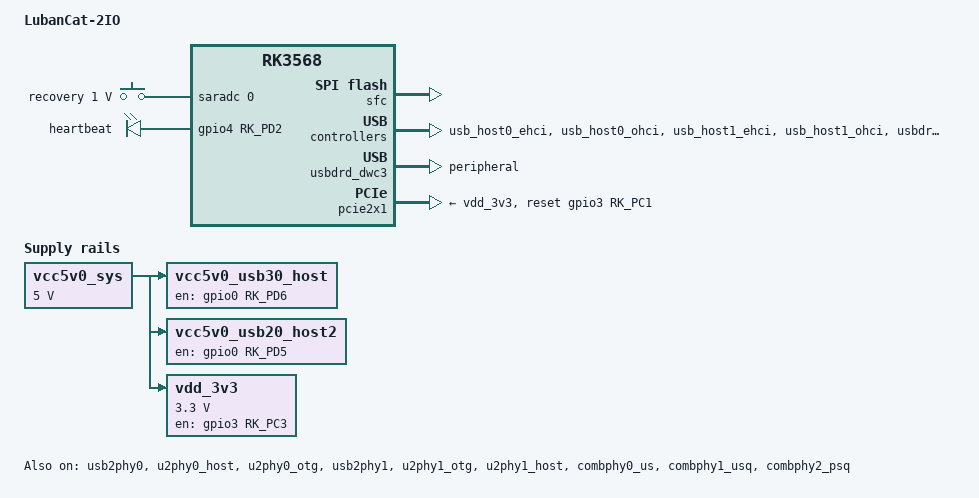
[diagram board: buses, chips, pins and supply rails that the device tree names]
// SPDX-License-Identifier: (GPL-2.0+ OR MIT)
/*
 * Copyright (c) 2020 Rockchip Electronics Co., Ltd.
 * Copyright (c) 2023 EmbedFire Electronic Technology Co., Ltd.
 *
 * LubanCat-2IO development board devicestree
 */

#include "rk3568-lubancat-2core-port.dtsi"


/ {
	model = "LubanCat-2IO";
	compatible = "rockchip,rk3568-lubancat-2io", "rockchip,rk3568";

	vcc5v0_sys: vcc5v0-sys {
		compatible = "regulator-fixed";
		regulator-name = "vcc5v0_sys";
		regulator-always-on;
		regulator-boot-on;
		regulator-min-microvolt = <5000000>;
		regulator-max-microvolt = <5000000>;
	};

	/* DASHCAM NEED */
	vcc5v0_usb30_host: vcc5v0-usb30-host-regulator {
		compatible = "regulator-fixed";
		enable-active-high;
		gpio = <&gpio0 RK_PD6 GPIO_ACTIVE_HIGH>;
		pinctrl-names = "default";
		pinctrl-0 = <&usb30_host1_pwr_en>;
		regulator-name = "vcc5v0_usb30_host";
		regulator-always-on;
		vin-supply = <&vcc5v0_sys>;
	};

	/* DASHCAM NEED */
	vcc5v0_usb20_host2: vcc5v0-usb20-host-regulator {
		compatible = "regulator-fixed";
		enable-active-high;
		gpio = <&gpio0 RK_PD5 GPIO_ACTIVE_HIGH>;
		pinctrl-names = "default";
		pinctrl-0 = <&usb20_host2_pwr_en>;
		regulator-name = "vcc5v0_usb20_host2";
		regulator-always-on;
		vin-supply = <&vcc5v0_sys>;
	};

	/* DASHCAM NEED */
	vdd_3v3: minipcie-3v3-regulator {
		compatible = "regulator-fixed";
		regulator-name = "vdd_3v3";
		regulator-min-microvolt = <3300000>;
		regulator-max-microvolt = <3300000>;
		enable-active-high;
		regulator-always-on;
		gpio = <&gpio3 RK_PC3 GPIO_ACTIVE_HIGH>;
		startup-delay-us = <5000>;
		vin-supply = <&vcc5v0_sys>;
	};

	adc_keys: adc-keys {
		compatible = "adc-keys";
		io-channels = <&saradc 0>;
		io-channel-names = "buttons";
		keyup-threshold-microvolt = <1800000>;
		poll-interval = <100>;

		recovery {
			label = "recovery";
			linux,code = <KEY_ENTER>;
			press-threshold-microvolt = <1000000>;
		};
	};

	leds: leds {
		status = "okay";
		compatible = "gpio-leds";

		led0: led0 {
			label = "heartbeat";
			linux,default-trigger = "heartbeat";
			default-state = "on";
			gpios = <&gpio4 RK_PD2 GPIO_ACTIVE_HIGH>;
			pinctrl-names = "default";
			pinctrl-0 = <&led0_pin>;
		};	
	};

};


&sfc{
	status = "okay";
};


&xin32k {
	status = "disabled"; //use for RX8010_nIRQ1
};

&rk809 {
	rtc {
		status = "disabled"; //use rx8010
	};
};

&uart3 {
	status = "disabled"; //Default to use DTBO
};

&uart4 {
	status = "disabled"; //Default to use DTBO
};

&uart7 {
	status = "disabled"; //Default to use DTBO
};

&uart9 {
	status = "disabled"; //Default to use DTBO
};


/* USB OTG/USB Host_1 USB 2.0 Comb */
&usb2phy0 {
	status = "okay";
};

&u2phy0_host {
	status = "okay";
	phy-supply = <&vcc5v0_sys>;
	vbus-supply = <&vcc5v0_sys>;
};

&u2phy0_otg {
	status = "okay";
	phy-supply = <&vcc5v0_sys>;
	vbus-supply = <&vcc5v0_sys>;
};

&usb_host0_ehci {
	status = "okay";
};

&usb_host0_ohci {
	status = "okay";
};

/* USB Host_2/USB Host_3 USB 2.0 Comb */
&usb2phy1 {
	status = "okay";
};

&u2phy1_otg {
	status = "okay";
	phy-supply = <&vcc5v0_sys>;
	vbus-supply = <&vcc5v0_usb20_host2>;
};

&u2phy1_host {
	status = "okay";
	phy-supply = <&vcc5v0_sys>;
	vbus-supply = <&vcc5v0_usb20_host2>;
};

&usb_host1_ehci {
	status = "okay";
};

&usb_host1_ohci {
	status = "okay";
};

/* MULTI_PHY0 For USB3.0 OTG0 */
&combphy0_us {
	phy-supply = <&vcc5v0_sys>;
	status = "okay";
};

&sata0 {
	status = "disable";
};

&usbdrd30 {
	status = "okay";
};

&usbdrd_dwc3 {
	dr_mode = "peripheral";
	status = "okay";
};

/* MULTI_PHY1 For USB3.0 HOST1 */
&combphy1_usq {
	phy-supply = <&vcc5v0_sys>;
	status = "okay";
};

&sata1 {
	status = "disabled";
};

&usbhost30 {
	status = "okay";
};

&usbhost_dwc3 {
	status = "okay";
};

/* MULTI_PHY2 For PCIe2.0 */
&combphy2_psq {
	phy-supply = <&vcc5v0_sys>;
	status = "okay";
};

/* Mini PCIe */
&pcie2x1 {
	reset-gpios = <&gpio3 RK_PC1 GPIO_ACTIVE_HIGH>;
	disable-gpios = <&gpio3 RK_PC2 GPIO_ACTIVE_HIGH>;
	vpcie3v3-supply = <&vdd_3v3>;
	status = "okay";
};

&rockchip_suspend{
	status = "okay";
};

&pinctrl {
	leds {
		led0_pin: led0-pin {
			rockchip,pins = <4 RK_PD2 RK_FUNC_GPIO &pcfg_pull_none>;
		};
	};

	usb {
		usb30_host1_pwr_en: usb30-host1-pwr-en {
			rockchip,pins =	<0 RK_PD6 RK_FUNC_GPIO &pcfg_pull_none>;
		};

		usb20_host2_pwr_en: usb20-host2-pwr-en {
			rockchip,pins = <0 RK_PD5 RK_FUNC_GPIO &pcfg_pull_none>;
		};
	};
};
